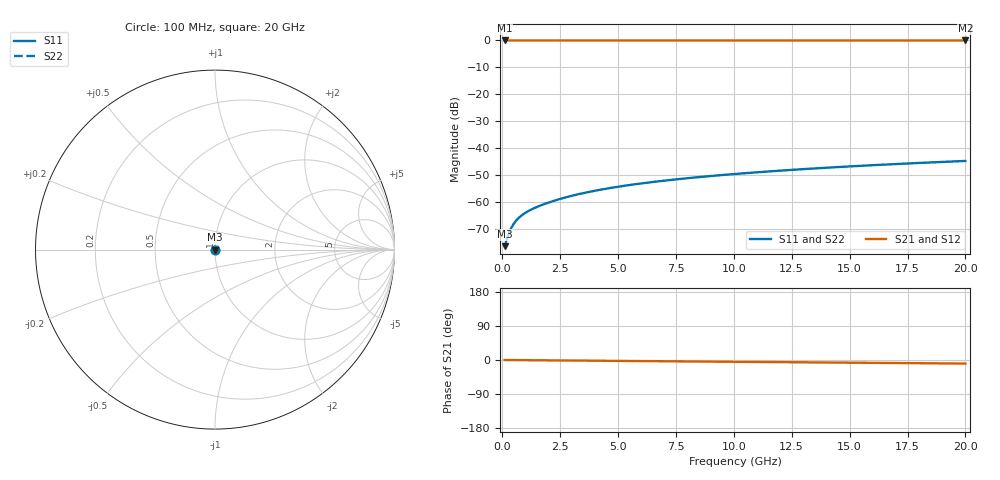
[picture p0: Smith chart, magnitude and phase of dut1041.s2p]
! Touchstone file exported from HFSS 2026.1.0
!  File:  C:/ffzhzh/LocalFiles/Ansys_Project_Files/temp_train_TSV_1041_1783189268_55132.aedt
!  Generated:  02:22:35 AM Jul  5, 2026
!  Design:  TSV
!  Project:  temp_train_TSV_1041_1783189268_55132
! Variables:
!  h_bsmrdl = 2um
!  h_ox = 20um
!  h_rdl = 5um
!  h_sub = 96.1um
!  h_tmrdl = 5um
!  h_tsv = 96.1um
!  h_via = 3um
!  l_bsmrdl = 300um
!  l_sub = 421.32um
!  l_tmrdl = 200um
!  m_sub = 200um
!  pitch = 44.91um
!  r_tsv = 10.66um
!  s_tmrdl = 10um
!  w_bsmrdl = 18um
!  w_sub = 500um
!  w_tmrdl = 12um
!  x_tsv_center1 = 206um
!  x_tsv_center2 = 524um
!  x_tsv_center3 = 736um
!  x_tsv_center4 = 1054um
!  x_tsv_center5 = 1266um
!  x_tsv_center6 = 1584um
# GHz S MA R 50.000000
! Terminal data exported
! Port[1] = TSV1_1_T1
! Port[2] = TSV1_1_T2
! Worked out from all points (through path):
!   200 points, 100 MHz to 20 GHz, reference 50 ohm
!   highest |S21| = 0.00 dB at 100 MHz (marker M1); lowest = 0.0 dB at 20 GHz (marker M2)
!   group delay of S21, straight-line fit = 1.3 ps
!   lowest |S11| = -76.2 dB at 100 MHz (marker M3), VSWR 1.00, Z = 50 + j0.00779 ohm
!   |S11| at or under -10 dB: start of sweep to end of sweep
!   |S22| runs from -76.2 to -44.7 dB; largest |S21 - S12| = 5.3e-15
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0.1  0.0001542 30.3  0.9999 -0.0  0.9999 -0.0  0.0001542 30.3
! Gamma 0 0 0 0
! Port Impedance 50 0 50 0
0.2  0.000212 46.0  0.9999 -0.1  0.9999 -0.1  0.000212 46.0
0.3  0.0002781 52.7  0.9998 -0.1  0.9998 -0.1  0.0002781 52.7
0.4  0.0003431 55.5  0.9998 -0.2  0.9998 -0.2  0.0003431 55.5
0.5  0.0004039 56.7  0.9998 -0.2  0.9998 -0.2  0.0004039 56.7
0.6  0.0004597 57.2  0.9998 -0.3  0.9998 -0.3  0.0004597 57.2
0.7  0.0005107 57.4  0.9997 -0.3  0.9997 -0.3  0.0005107 57.4
0.9  0.0006011 57.7  0.9997 -0.4  0.9997 -0.4  0.0006011 57.7
1.1  0.0006808 58.1  0.9996 -0.5  0.9996 -0.5  0.0006808 58.1
1.3  0.0007544 58.6  0.9996 -0.6  0.9996 -0.6  0.0007544 58.6
1.6  0.0008587 59.7  0.9996 -0.8  0.9996 -0.8  0.0008587 59.7
1.9  0.0009599 60.8  0.9995 -0.9  0.9995 -0.9  0.0009599 60.8
2.6  0.001192 62.9  0.9995 -1.2  0.9995 -1.2  0.001192 62.9
3.5  0.001484 64.7  0.9994 -1.7  0.9994 -1.7  0.001484 64.7
4.2  0.001705 65.5  0.9993 -2.0  0.9993 -2.0  0.001705 65.5
5  0.001949 66.1  0.9993 -2.4  0.9993 -2.4  0.001949 66.1
6.8  0.002471 66.9  0.9992 -3.2  0.9992 -3.2  0.002471 66.9
8.3  0.002887 67.3  0.9991 -3.9  0.9991 -3.9  0.002887 67.3
10.1  0.003371 67.6  0.999 -4.8  0.999 -4.8  0.003371 67.6
13.4  0.004231 67.6  0.9988 -6.3  0.9988 -6.3  0.004231 67.6
16.7  0.005059 67.1  0.9987 -7.9  0.9987 -7.9  0.00506 67.1
20  0.00585 66.4  0.9985 -9.4  0.9985 -9.4  0.00585 66.3
